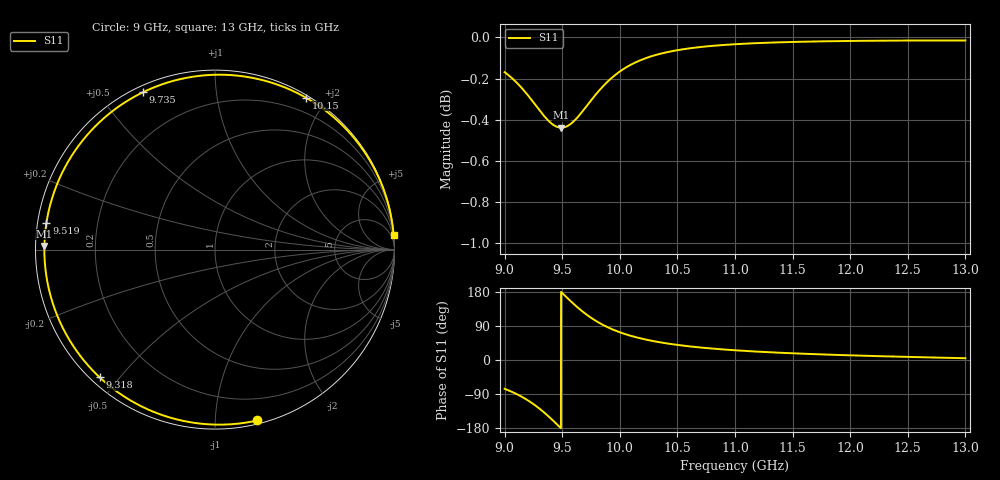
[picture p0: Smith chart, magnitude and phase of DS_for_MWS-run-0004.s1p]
! TOUCHSTONE file generated by CST DESIGN STUDIO
! Date and time: Tue Feb  4 13:59:13 2025
! Project name: C:\Work\MatlabApps\UnitCellOptimizationMatlab\CST\unitcell.cst
! Tree item: Tasks\Sweep1\SPara1\S-Parameters
! Header version: 2024
! Port assignment regex: !\s*Touchstone port\s*([0-9]+)\s*=\s*(CST MWS port|CST DES external port|CST DES block port)\s*(.+)\s* \(\"(.*)\"\)(\s*mode\s*([0-9]+))?.*
! Touchstone port assignment:
! Touchstone port 1 = CST DES external port 1 ("")
# GHz S MA R 50
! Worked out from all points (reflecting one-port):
!   4001 points, 9 GHz to 13 GHz, reference 50 ohm
!   lowest |S11| = -0.4 dB at 9.493 GHz (marker M1), VSWR 39.61, Z = 1.26 + j0.518 ohm
!   phase of S11 starts at -76 deg and turns -279 deg over the sweep
!   S11 on the Smith chart (normalised r, x): 9 GHz: 0.03, -1.28; 9.318 GHz: 0.03, -0.44; 9.519 GHz: 0.03, +0.08; 9.735 GHz: 0.03, +0.64; 10.15 GHz: 0.03, +1.76; 13 GHz: 1, +24
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9  0.9808 -76.1
9.082  0.9764 -86.6
9.182  0.9697 -102.8
9.253  0.9641 -116.9
9.318  0.9589 -132.1
9.364  0.9555 -144.0
9.413  0.9527 -157.7
9.454  0.9512 -169.6
9.493  0.9507 178.8
9.5  0.9508 176.7
9.519  0.951 171.1
9.572  0.9527 155.6
9.631  0.9561 139.4
9.682  0.9599 126.6
9.735  0.9642 114.6
9.789  0.9684 103.8
9.848  0.9726 93.6
9.923  0.9772 82.6
10  0.9811 73.2
10.153  0.9866 59.1
10.31  0.9902 48.8
10.5  0.9929 39.8
10.722  0.9948 32.3
11  0.9962 25.7
11.5  0.9975 17.7
12  0.998 12.3
12.5  0.9983 8.2
13  0.9983 4.7
